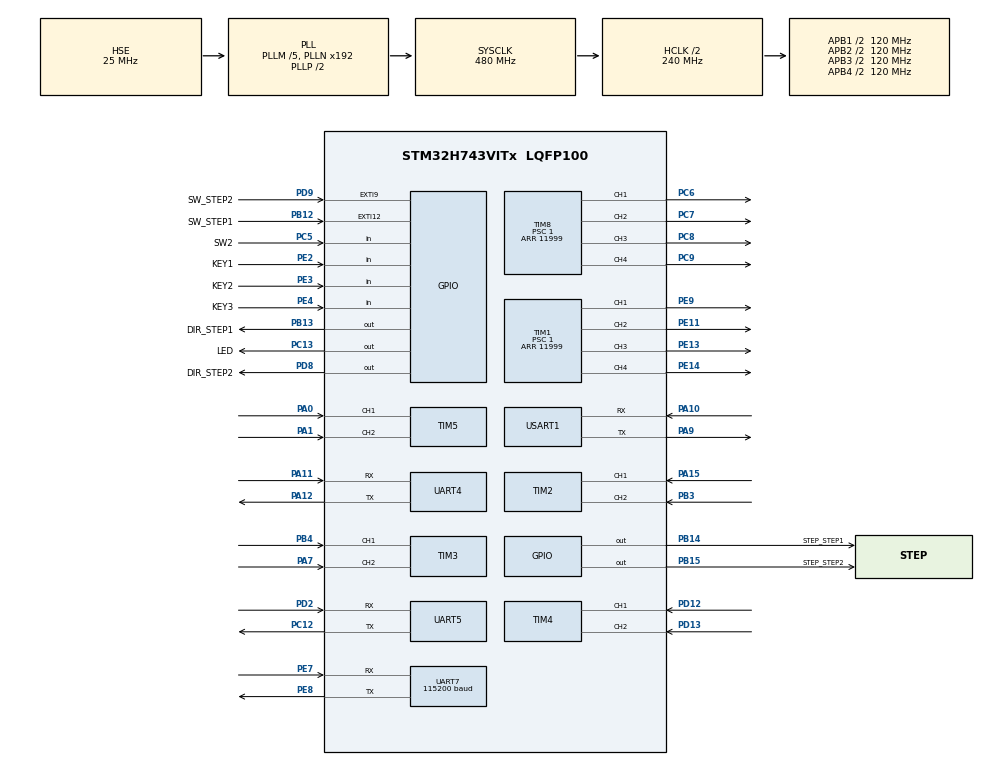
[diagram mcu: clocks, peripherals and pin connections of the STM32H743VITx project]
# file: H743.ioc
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Dma.Request0=USART1_RX
Dma.Request1=USART1_TX
Dma.USART1_RX.0.Direction=DMA_PERIPH_TO_MEMORY
Dma.USART1_RX.0.EventEnable=DISABLE
Dma.USART1_RX.0.FIFOMode=DMA_FIFOMODE_DISABLE
Dma.USART1_RX.0.Instance=DMA1_Stream0
Dma.USART1_RX.0.MemDataAlignment=DMA_MDATAALIGN_BYTE
Dma.USART1_RX.0.MemInc=DMA_MINC_ENABLE
Dma.USART1_RX.0.Mode=DMA_CIRCULAR
Dma.USART1_RX.0.PeriphDataAlignment=DMA_PDATAALIGN_BYTE
Dma.USART1_RX.0.PeriphInc=DMA_PINC_DISABLE
Dma.USART1_RX.0.Polarity=HAL_DMAMUX_REQ_GEN_RISING
Dma.USART1_RX.0.Priority=DMA_PRIORITY_VERY_HIGH
Dma.USART1_RX.0.RequestNumber=1
Dma.USART1_RX.0.SignalID=NONE
Dma.USART1_RX.0.SyncEnable=DISABLE
Dma.USART1_RX.0.SyncPolarity=HAL_DMAMUX_SYNC_NO_EVENT
Dma.USART1_RX.0.SyncRequestNumber=1
Dma.USART1_RX.0.SyncSignalID=NONE
Dma.USART1_TX.1.Direction=DMA_MEMORY_TO_PERIPH
Dma.USART1_TX.1.EventEnable=DISABLE
Dma.USART1_TX.1.FIFOMode=DMA_FIFOMODE_DISABLE
Dma.USART1_TX.1.Instance=DMA1_Stream1
Dma.USART1_TX.1.MemDataAlignment=DMA_MDATAALIGN_BYTE
Dma.USART1_TX.1.MemInc=DMA_MINC_ENABLE
Dma.USART1_TX.1.Mode=DMA_NORMAL
Dma.USART1_TX.1.PeriphDataAlignment=DMA_PDATAALIGN_BYTE
Dma.USART1_TX.1.PeriphInc=DMA_PINC_DISABLE
Dma.USART1_TX.1.Polarity=HAL_DMAMUX_REQ_GEN_RISING
Dma.USART1_TX.1.Priority=DMA_PRIORITY_VERY_HIGH
Dma.USART1_TX.1.RequestNumber=1
Dma.USART1_TX.1.SignalID=NONE
Dma.USART1_TX.1.SyncEnable=DISABLE
Dma.USART1_TX.1.SyncPolarity=HAL_DMAMUX_SYNC_NO_EVENT
Dma.USART1_TX.1.SyncRequestNumber=1
Dma.USART1_TX.1.SyncSignalID=NONE
FREERTOS.Tasks01=defaultTask,24,128,StartDefaultTask,Default,NULL,Dynamic,NULL,NULL
FREERTOS.configTOTAL_HEAP_SIZE=102400
FREERTOS.configUSE_NEWLIB_REENTRANT=1
Mcu.Family=STM32H7
Mcu.Name=STM32H743VITx
Mcu.Package=LQFP100
NVIC.DMA1_Stream0_IRQn=true\:5\:0\:false\:false\:true\:true\:false\:true
NVIC.DMA1_Stream1_IRQn=true\:5\:0\:false\:false\:true\:true\:false\:true
NVIC.EXTI15_10_IRQn=true\:5\:0\:false\:false\:true\:true\:true\:true
NVIC.EXTI9_5_IRQn=true\:5\:0\:false\:false\:true\:true\:true\:true
NVIC.PriorityGroup=NVIC_PRIORITYGROUP_4
NVIC.TIM15_IRQn=true\:15\:0\:false\:false\:true\:false\:false\:true
NVIC.TIM6_DAC_IRQn=true\:5\:0\:false\:false\:true\:true\:true\:true
NVIC.TIM7_IRQn=true\:5\:0\:false\:false\:true\:true\:true\:true
NVIC.TimeBase=TIM15_IRQn
NVIC.TimeBaseIP=TIM15
NVIC.USART1_IRQn=true\:5\:0\:false\:false\:true\:true\:true\:true
PA0.Signal=S_TIM5_CH1
PA1.Signal=S_TIM5_CH2
PA10.Mode=Asynchronous
PA10.Signal=USART1_RX
PA11.Mode=Asynchronous
PA11.Signal=UART4_RX
PA12.Mode=Asynchronous
PA12.Signal=UART4_TX
PA13\ (JTMS/SWDIO).Mode=Serial_Wire
PA13\ (JTMS/SWDIO).Signal=DEBUG_JTMS-SWDIO
PA14\ (JTCK/SWCLK).Mode=Serial_Wire
PA14\ (JTCK/SWCLK).Signal=DEBUG_JTCK-SWCLK
PA15\ (JTDI).Signal=S_TIM2_CH1
PA7.Signal=S_TIM3_CH2
PA9.Mode=Asynchronous
PA9.Signal=USART1_TX
PB12.GPIO_Label=SW_STEP1
PB12.GPIO_ModeDefaultEXTI=GPIO_MODE_IT_FALLING
PB12.GPIO_PuPd=GPIO_PULLUP
PB12.Signal=GPXTI12
PB13.GPIO_Label=DIR_STEP1
PB13.Signal=GPIO_Output
PB14.GPIO_Label=STEP_STEP1
PB14.Signal=GPIO_Output
PB15.GPIO_Label=STEP_STEP2
PB15.Signal=GPIO_Output
PB3\ (JTDO/TRACESWO).Signal=S_TIM2_CH2
PB4\ (NJTRST).Signal=S_TIM3_CH1
PC12.Mode=Asynchronous
PC12.Signal=UART5_TX
PC13.GPIO_Label=LED
PC13.Signal=GPIO_Output
PC5.GPIO_Label=SW2
PC5.Signal=GPIO_Input
PC6.Signal=S_TIM8_CH1
PC7.Signal=S_TIM8_CH2
PC8.Signal=S_TIM8_CH3
PC9.Signal=S_TIM8_CH4
PD12.Signal=S_TIM4_CH1
PD13.Signal=S_TIM4_CH2
PD2.Mode=Asynchronous
PD2.Signal=UART5_RX
PD8.GPIO_Label=DIR_STEP2
PD8.Signal=GPIO_Output
PD9.GPIO_Label=SW_STEP2
PD9.GPIO_ModeDefaultEXTI=GPIO_MODE_IT_FALLING
PD9.GPIO_PuPd=GPIO_PULLUP
PD9.Signal=GPXTI9
PE11.Signal=S_TIM1_CH2
PE13.Signal=S_TIM1_CH3
PE14.Signal=S_TIM1_CH4
PE2.GPIO_Label=KEY1
PE2.GPIO_PuPd=GPIO_PULLUP
PE2.Signal=GPIO_Input
PE3.GPIO_Label=KEY2
PE3.GPIO_PuPd=GPIO_PULLUP
PE3.Signal=GPIO_Input
PE4.GPIO_Label=KEY3
PE4.GPIO_PuPd=GPIO_PULLUP
PE4.Signal=GPIO_Input
PE7.Mode=Asynchronous
PE7.Signal=UART7_RX
PE8.Mode=Asynchronous
PE8.Signal=UART7_TX
PE9.Signal=S_TIM1_CH1
PH0-OSC_IN\ (PH0).Mode=HSE-External-Oscillator
PH0-OSC_IN\ (PH0).Signal=RCC_OSC_IN
PH1-OSC_OUT\ (PH1).Mode=HSE-External-Oscillator
PH1-OSC_OUT\ (PH1).Signal=RCC_OSC_OUT
ProjectManager.HeapSize=0x200
ProjectManager.StackSize=0x400
ProjectManager.TargetToolchain=STM32CubeIDE
RCC.ADCFreq_Value=50390625
RCC.APB1Freq_Value=120000000
RCC.APB2Freq_Value=120000000
RCC.APB3Freq_Value=120000000
RCC.APB4Freq_Value=120000000
RCC.CortexFreq_Value=480000000
RCC.D1PPRE=RCC_APB3_DIV2
RCC.D2PPRE1=RCC_APB1_DIV2
RCC.D2PPRE2=RCC_APB2_DIV2
RCC.D3PPRE=RCC_APB4_DIV2
RCC.DIVM1=5
RCC.DIVN1=192
RCC.HCLKFreq_Value=240000000
RCC.HPRE=RCC_HCLK_DIV2
RCC.PLLSourceVirtual=RCC_PLLSOURCE_HSE
RCC.SYSCLKFreq_VALUE=480000000
RCC.SYSCLKSource=RCC_SYSCLKSOURCE_PLLCLK
RCC.USBFreq_Value=480000000
SH.S_TIM1_CH1.0=TIM1_CH1,PWM Generation1 CH1
SH.S_TIM1_CH2.0=TIM1_CH2,PWM Generation2 CH2
SH.S_TIM1_CH3.0=TIM1_CH3,PWM Generation3 CH3
SH.S_TIM1_CH4.0=TIM1_CH4,PWM Generation4 CH4
SH.S_TIM2_CH1.0=TIM2_CH1,Encoder_Interface
SH.S_TIM2_CH2.0=TIM2_CH2,Encoder_Interface
SH.S_TIM3_CH1.0=TIM3_CH1,Encoder_Interface
SH.S_TIM3_CH2.0=TIM3_CH2,Encoder_Interface
SH.S_TIM4_CH1.0=TIM4_CH1,Encoder_Interface
SH.S_TIM4_CH2.0=TIM4_CH2,Encoder_Interface
SH.S_TIM5_CH1.0=TIM5_CH1,Encoder_Interface
SH.S_TIM5_CH2.0=TIM5_CH2,Encoder_Interface
SH.S_TIM8_CH1.0=TIM8_CH1,PWM Generation1 CH1
SH.S_TIM8_CH2.0=TIM8_CH2,PWM Generation2 CH2
SH.S_TIM8_CH3.0=TIM8_CH3,PWM Generation3 CH3
SH.S_TIM8_CH4.0=TIM8_CH4,PWM Generation4 CH4
TIM1.Channel-PWM\ Generation1\ CH1=TIM_CHANNEL_1
TIM1.Channel-PWM\ Generation2\ CH2=TIM_CHANNEL_2
TIM1.Channel-PWM\ Generation3\ CH3=TIM_CHANNEL_3
TIM1.Channel-PWM\ Generation4\ CH4=TIM_CHANNEL_4
TIM1.Period=11999
TIM1.Prescaler=1
TIM2.EncoderMode=TIM_ENCODERMODE_TI12
TIM2.IC1Filter=2
TIM2.IC2Filter=2
TIM3.EncoderMode=TIM_ENCODERMODE_TI12
TIM3.IC1Filter=2
TIM3.IC2Filter=2
TIM4.EncoderMode=TIM_ENCODERMODE_TI12
TIM4.IC1Filter=2
TIM4.IC2Filter=2
TIM5.EncoderMode=TIM_ENCODERMODE_TI12
TIM5.IC1Filter=2
TIM5.IC2Filter=2
TIM6.Period=4999
TIM6.Prescaler=239
TIM6.TIM_MasterOutputTrigger=TIM_TRGO_RESET
TIM7.Period=49
TIM7.Prescaler=239
TIM7.TIM_MasterOutputTrigger=TIM_TRGO_RESET
TIM8.Channel-PWM\ Generation1\ CH1=TIM_CHANNEL_1
TIM8.Channel-PWM\ Generation2\ CH2=TIM_CHANNEL_2
TIM8.Channel-PWM\ Generation3\ CH3=TIM_CHANNEL_3
TIM8.Channel-PWM\ Generation4\ CH4=TIM_CHANNEL_4
TIM8.Period=11999
TIM8.Prescaler=1
UART7.BaudRate=115200
USART1.VirtualMode-Asynchronous=VM_ASYNC
VP_FREERTOS_VS_CMSIS_V2.Mode=CMSIS_V2
VP_SYS_VS_tim15.Mode=TIM15
VP_TIM6_VS_ClockSourceINT.Mode=Enable_Timer
VP_TIM7_VS_ClockSourceINT.Mode=Enable_Timer
board=custom

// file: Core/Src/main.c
/* USER CODE BEGIN Header */
/**
  ******************************************************************************
  * @file           : main.c
  * @brief          : Main program body
  ******************************************************************************
  * @attention
  *
  * <h2><center>&copy; Copyright (c) 2021 STMicroelectronics.
  * All rights reserved.</center></h2>
  *
  * This software component is licensed by ST under Ultimate Liberty license
  * SLA0044, the "License"; You may not use this file except in compliance with
  * the License. You may obtain a copy of the License at:
  *                             www.st.com/SLA0044
  *
  ******************************************************************************
  */
/* USER CODE END Header */
#include "main.h"
#include "cmsis_os.h"
#include "dma.h"
#include "tim.h"
#include "usart.h"
#include "gpio.h"

/* USER CODE BEGIN Includes */
#include "SCS.h"
#include "SMSBCL.h"
#include "Control.h"
/* USER CODE END Includes */

void SystemClock_Config(void);
void MX_FREERTOS_Init(void);

/* USER CODE BEGIN 0 */
//volatile uint32_t SRAM1RAM[10] __attribute__((section("RAM_D1")))={1,2,3,4,5,1,2,3,4,5};//giving initial values here is invalid because the sram is powered after the initialization stage.
#if 1

	__asm(".global __use_no_semihosting\n\t") ;

//		struct __FILE {
//		int handle;
//		};
//		std::FILE __stdout;

		void _sys_exit(int x)
		{
			x = x;
		}

		void _ttywrch(int ch)
		{
			ch = ch;
		}

		char *_sys_command_string(char *cmd, int len)
		{
				return 0;
		}

#endif
/* USER CODE END 0 */

int main(void)
{

  /* MCU Configuration--------------------------------------------------------*/

  /* Reset of all peripherals, Initializes the Flash interface and the Systick. */
  HAL_Init();

  /* Configure the system clock */
  SystemClock_Config();

  /* Initialize all configured peripherals */
  MX_GPIO_Init();
  MX_DMA_Init();
  MX_TIM1_Init();
  MX_TIM2_Init();
  MX_TIM3_Init();
  MX_TIM4_Init();
  MX_TIM5_Init();
  MX_TIM6_Init();
  MX_TIM7_Init();
  MX_UART4_Init();
  MX_UART5_Init();
  MX_UART7_Init();
  MX_USART1_UART_Init();
  MX_TIM8_Init();
  /* USER CODE BEGIN 2 */

  /*Enable Encoders*/
    HAL_TIM_Encoder_Start(&htim2, TIM_CHANNEL_ALL);
	HAL_TIM_Encoder_Start(&htim3, TIM_CHANNEL_ALL);
	HAL_TIM_Encoder_Start(&htim4, TIM_CHANNEL_ALL);
	HAL_TIM_Encoder_Start(&htim5, TIM_CHANNEL_ALL);
  /*Enable Motors*/
	HAL_TIM_PWM_Start(&htim1,TIM_CHANNEL_1);
	HAL_TIM_PWM_Start(&htim1,TIM_CHANNEL_2);
	HAL_TIM_PWM_Start(&htim1,TIM_CHANNEL_3);
	HAL_TIM_PWM_Start(&htim1,TIM_CHANNEL_4);
	HAL_TIM_PWM_Start(&htim8,TIM_CHANNEL_1);
	HAL_TIM_PWM_Start(&htim8,TIM_CHANNEL_2);
	HAL_TIM_PWM_Start(&htim8,TIM_CHANNEL_3);
	HAL_TIM_PWM_Start(&htim8,TIM_CHANNEL_4);

	LL_TIM_EnableIT_UPDATE(TIM6);
	LL_TIM_EnableCounter(TIM6);
	LL_TIM_EnableIT_UPDATE(TIM7);
	LL_TIM_EnableCounter(TIM7);
  /* USER CODE END 2 */

  /* Init scheduler */
  osKernelInitialize();  /* Call init function for freertos objects (in freertos.c) */
  MX_FREERTOS_Init();
  /* Start scheduler */
  osKernelStart();

  /* We should never get here as control is now taken by the scheduler */
  /* Infinite loop */
  /* USER CODE BEGIN WHILE */
  while (1)
  {
//		Set_Pwm(8000,8000,8000,8000);
//		if(!delay_flag)//50ms 20hz
//		{
//			delay_flag=1;
//			Servo_Server();//not implemented by freertos now
//			// if(count>=10)
//			// {
//			// 	HAL_GPIO_WritePin(LED_GPIO_Port,LED_Pin,ledstate);
//			// 	ledstate=!ledstate;
//			// 	count=0;
//			// }
//			// else
//			// {
//			// 	count++;
//			// }
//		}
    /* USER CODE END WHILE */

  }
}

void SystemClock_Config(void)
{
  RCC_OscInitTypeDef RCC_OscInitStruct = {0};
  RCC_ClkInitTypeDef RCC_ClkInitStruct = {0};

  /** Supply configuration update enable
  */
  HAL_PWREx_ConfigSupply(PWR_LDO_SUPPLY);
  /** Configure the main internal regulator output voltage
  */
  __HAL_PWR_VOLTAGESCALING_CONFIG(PWR_REGULATOR_VOLTAGE_SCALE0);

  while(!__HAL_PWR_GET_FLAG(PWR_FLAG_VOSRDY)) {}
  /** Initializes the RCC Oscillators according to the specified parameters
  * in the RCC_OscInitTypeDef structure.
  */
  RCC_OscInitStruct.OscillatorType = RCC_OSCILLATORTYPE_HSE;
  RCC_OscInitStruct.HSEState = RCC_HSE_ON;
  RCC_OscInitStruct.PLL.PLLState = RCC_PLL_ON;
  RCC_OscInitStruct.PLL.PLLSource = RCC_PLLSOURCE_HSE;
  RCC_OscInitStruct.PLL.PLLM = 5;
  RCC_OscInitStruct.PLL.PLLN = 192;
  RCC_OscInitStruct.PLL.PLLP = 2;
  RCC_OscInitStruct.PLL.PLLQ = 2;
  RCC_OscInitStruct.PLL.PLLR = 2;
  RCC_OscInitStruct.PLL.PLLRGE = RCC_PLL1VCIRANGE_2;
  RCC_OscInitStruct.PLL.PLLVCOSEL = RCC_PLL1VCOWIDE;
  RCC_OscInitStruct.PLL.PLLFRACN = 0;
  if (HAL_RCC_OscConfig(&RCC_OscInitStruct) != HAL_OK)
  {
    Error_Handler();
  }
  /** Initializes the CPU, AHB and APB buses clocks
  */
  RCC_ClkInitStruct.ClockType = RCC_CLOCKTYPE_HCLK|RCC_CLOCKTYPE_SYSCLK
                              |RCC_CLOCKTYPE_PCLK1|RCC_CLOCKTYPE_PCLK2
                              |RCC_CLOCKTYPE_D3PCLK1|RCC_CLOCKTYPE_D1PCLK1;
  RCC_ClkInitStruct.SYSCLKSource = RCC_SYSCLKSOURCE_PLLCLK;
  RCC_ClkInitStruct.SYSCLKDivider = RCC_SYSCLK_DIV1;
  RCC_ClkInitStruct.AHBCLKDivider = RCC_HCLK_DIV2;
  RCC_ClkInitStruct.APB3CLKDivider = RCC_APB3_DIV2;
  RCC_ClkInitStruct.APB1CLKDivider = RCC_APB1_DIV2;
  RCC_ClkInitStruct.APB2CLKDivider = RCC_APB2_DIV2;
  RCC_ClkInitStruct.APB4CLKDivider = RCC_APB4_DIV2;

  if (HAL_RCC_ClockConfig(&RCC_ClkInitStruct, FLASH_LATENCY_4) != HAL_OK)
  {
    Error_Handler();
  }
}

void HAL_TIM_PeriodElapsedCallback(TIM_HandleTypeDef *htim)
{
  if (htim->Instance == TIM15) {
    HAL_IncTick();
  }
}

void Error_Handler(void)
{
  __disable_irq();
  while (1)
  {
  }
}

/************************ (C) COPYRIGHT STMicroelectronics *****END OF FILE****/

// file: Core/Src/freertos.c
/* USER CODE BEGIN Header */
/**
  ******************************************************************************
  * File Name          : freertos.c
  * Description        : Code for freertos applications
  ******************************************************************************
  * @attention
  *
  * <h2><center>&copy; Copyright (c) 2021 STMicroelectronics.
  * All rights reserved.</center></h2>
  *
  * This software component is licensed by ST under Ultimate Liberty license
  * SLA0044, the "License"; You may not use this file except in compliance with
  * the License. You may obtain a copy of the License at:
  *                             www.st.com/SLA0044
  *
  ******************************************************************************
  */
/* USER CODE END Header */

#include "FreeRTOS.h"
#include "task.h"
#include "main.h"
#include "cmsis_os.h"

/* USER CODE BEGIN Includes */
#include "semphr.h"
#include "Control.h"
#include "StepperMotor.h"
#include <rcl/rcl.h>
#include <rcl/error_handling.h>
#include <rclc/rclc.h>
#include <rclc/executor.h>
#include <uxr/client/transport.h>
#include <rmw_microxrcedds_c/config.h>
#include <rmw_microros/rmw_microros.h>
#include <std_msgs/msg/int32.h>

#include "usart.h"
#include "Servo.h"
#include "ros_task.hpp"
/* USER CODE END Includes */

/* USER CODE BEGIN Variables */
osThreadId_t controlTaskHandle;
const osThreadAttr_t controlTask_attributes = {
  .name = "controlTask",
  .stack_size = 1000 * 4,
  .priority = (osPriority_t) osPriorityRealtime,
};
SemaphoreHandle_t Control_Lock = NULL;
osThreadId_t servoTaskHandle;
const osThreadAttr_t servoTask_attributes = {
  .name = "servoTask",
  .stack_size = 2000 * 4,
  .priority = (osPriority_t) osPriorityNormal,
};
SemaphoreHandle_t Servo_Lock = NULL;
SemaphoreHandle_t Servo_Lock_Upper = NULL;
osThreadId_t ROSTaskHandle;
const osThreadAttr_t ROSTask_attributes = {
  .name = "ROSTask",
  .stack_size = 1000 * 4,
  .priority = (osPriority_t) osPriorityNormal,
};

/* USER CODE END Variables */
/* Definitions for defaultTask */
osThreadId_t defaultTaskHandle;
const osThreadAttr_t defaultTask_attributes = {
  .name = "defaultTask",
  .stack_size = 128 * 4,
  .priority = (osPriority_t) osPriorityNormal,
};

/* USER CODE BEGIN FunctionPrototypes */
void StartControlTask(void *argument);
void StartServoTask(void *argument);
void StartROSTask(void *argument);
//void StartLEDTask(void *argument);
/* USER CODE END FunctionPrototypes */

void StartDefaultTask(void *argument);

void MX_FREERTOS_Init(void); /* (MISRA C 2004 rule 8.1) */

void MX_FREERTOS_Init(void) {

  /* Create the thread(s) */
  /* creation of defaultTask */
  defaultTaskHandle = osThreadNew(StartDefaultTask, NULL, &defaultTask_attributes);

  /* USER CODE BEGIN RTOS_THREADS */
  /* add threads, ... */
  controlTaskHandle = osThreadNew(StartControlTask, NULL, &controlTask_attributes);

  /* USER CODE END RTOS_THREADS */

}

void StartDefaultTask(void *argument)
{
  /* USER CODE BEGIN StartDefaultTask */
  /* Infinite loop */
  for(;;)
  {
    osDelay(10);
  }
  /* USER CODE END StartDefaultTask */
}

/* USER CODE BEGIN Application */
void StartControlTask(void *argument)
{
  Control_Lock = xSemaphoreCreateMutex();//create lock used for control loop
  servoTaskHandle = osThreadNew(StartServoTask, NULL, &servoTask_attributes);
//  Set_relative(0);
//  Set_Run_Flag(1);
  for(;;)
  {
    TickType_t tcnt=xTaskGetTickCount();
	Control();
    osDelayUntil(tcnt+10);//100Hz
  }
}

void StartServoTask(void *argument)
{
  Servo_Lock = xSemaphoreCreateMutex();//create lock used for control loop
  Servo_Lock_Upper = xSemaphoreCreateRecursiveMutex();
  ROSTaskHandle = osThreadNew(StartROSTask, NULL, &ROSTask_attributes);
  set_stepper_2(-0xFFFF);
  set_stepper_1(-0xFFFF);
  osDelay(1000);
  update_Servo_state(1,3300);
  update_Servo_state(2,170);
  update_Servo_state(3,470);
  update_Servo_state(4,300);
  update_Servo_state(5,580);//set default inital positions to save time
  WritePosSCS(100,0,0,0);//dummy info to flush serial
  WritePosSTS(100,0,1000,50);//dummy info to flush serial
//  Servo_InitPos();
//  Servo_Add_Action(0xFFF0,110/0.0038,1);//push out
//  Servo_Camera();
  for(;;)
  {
    TickType_t tcnt=xTaskGetTickCount();
    Servo_Server();
    osDelayUntil(tcnt+50);//20Hz
  }
}

void StartROSTask(void *argument)
{
	ros_init();
	for(;;)
	{
		osDelay(10);
	}
}

/* USER CODE END Application */

/************************ (C) COPYRIGHT STMicroelectronics *****END OF FILE****/
